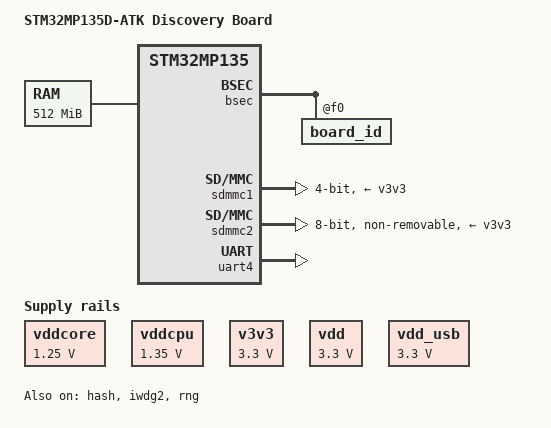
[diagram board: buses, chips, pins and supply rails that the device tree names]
// SPDX-License-Identifier: (GPL-2.0+ OR BSD-3-Clause)
/*
 * Copyright (C) STMicroelectronics 2022 - All Rights Reserved
 * Author: Alexandre Torgue <alexandre.torgue@st.com> for STMicroelectronics.
 */

/dts-v1/;

#include <dt-bindings/clock/stm32mp13-clksrc.h>
#include "stm32mp135.dtsi"
#include "stm32mp13xd.dtsi"
#include "stm32mp13-ddr3-1x4Gb-1066-binF.dtsi"
#include "stm32mp13-pinctrl-atk.dtsi"

/ {
	model = "STM32MP135D-ATK Discovery Board";
	compatible = "st,stm32mp135d-atk", "st,stm32mp135";

	aliases {
		serial0 = &uart4;
	};

	chosen {
		stdout-path = "serial0:115200n8";
	};

	memory@c0000000 {
		device_type = "memory";
		reg = <0xc0000000 0x20000000>;
	};

	vddcore: regulator-vddcore {
        compatible = "regulator-fixed";
        regulator-name = "vddcore";
        regulator-min-microvolt = <1250000>;
        regulator-max-microvolt = <1250000>;
        regulator-off-in-suspend;
        regulator-always-on;
	};

	vddcpu: regulator-vddcpu {
		compatible = "regulator-fixed";
		regulator-name = "vddcpu";
		regulator-min-microvolt = <1350000>;
		regulator-max-microvolt = <1350000>;
        regulator-off-in-suspend;
        regulator-always-on;
	};

	v3v3: regulator-v3v3 {
        compatible = "regulator-fixed";
        regulator-name = "v3v3";
        regulator-min-microvolt = <3300000>;
        regulator-max-microvolt = <3300000>;
        regulator-off-in-suspend;
        regulator-always-on;
    };

	vdd: regulator-vdd {
		compatible = "regulator-fixed";
		regulator-name = "vdd";
		regulator-min-microvolt = <3300000>;
		regulator-max-microvolt = <3300000>;
		regulator-off-in-suspend;
		regulator-always-on;
	};

	vdd_usb: regulator-vdd-usb {
		compatible = "regulator-fixed";
		regulator-name = "vdd_usb";
		regulator-min-microvolt = <3300000>;
		regulator-max-microvolt = <3300000>;
		regulator-off-in-suspend;
		regulator-always-on;
	};
};

&bsec {
	board_id: board_id@f0 {
		reg = <0xf0 0x4>;
		st,non-secure-otp;
	};
};

&clk_hse {
	st,digbypass;
};

&cpu0 {
	cpu-supply = <&vddcpu>;
};

&hash {
	status = "okay";
};

&iwdg2 {
	timeout-sec = <32>;
	status = "okay";
};

&pwr_regulators {
	vdd-supply = <&vdd>;
	vdd_3v3_usbfs-supply = <&vdd_usb>;
};

&rcc {
	st,clksrc = <
		CLK_MPU_PLL1P
		CLK_AXI_PLL2P
		CLK_MLAHBS_PLL3
		CLK_CKPER_HSE
		CLK_RTC_LSE
		CLK_SDMMC1_PLL4P
		CLK_SDMMC2_PLL4P
		CLK_STGEN_HSE
		CLK_USBPHY_HSE
		CLK_I2C4_HSI
		CLK_USBO_USBPHY
		CLK_I2C12_HSI
		CLK_UART2_HSI
		CLK_UART4_HSI
	>;

	st,clkdiv = <
		DIV(DIV_AXI, 0)
		DIV(DIV_MLAHB, 0)
		DIV(DIV_APB1, 1)
		DIV(DIV_APB2, 1)
		DIV(DIV_APB3, 1)
		DIV(DIV_APB4, 1)
		DIV(DIV_APB5, 2)
		DIV(DIV_APB6, 1)
		DIV(DIV_RTC, 0)
	>;

	st,pll_vco {
		pll1_vco_1300Mhz: pll1-vco-1300Mhz {
			src = < CLK_PLL12_HSE >;
			divmn = < 2 80 >;
			frac = < 0x800 >;
		};

		pll2_vco_1066Mhz: pll2-vco-1066Mhz {
			src = < CLK_PLL12_HSE >;
			divmn = < 2 65 >;
			frac = < 0x1400 >;
		};

		pll3_vco_417_8Mhz: pll2-vco-417_8Mhz {
			src = < CLK_PLL3_HSE >;
			divmn = < 1 33 >;
			frac = < 0x1a04 >;
		};

		pll4_vco_600Mhz: pll2-vco-600Mhz {
			src = < CLK_PLL4_HSE >;
			divmn = < 1 49 >;
		};
	};

	/* VCO = 1300.0 MHz => P = 650 (CPU) */
	pll1:st,pll@0 {
		compatible = "st,stm32mp1-pll";
		reg = <0>;

		st,pll = < &pll1_cfg1 >;

		pll1_cfg1: pll1_cfg1 {
			st,pll_vco = < &pll1_vco_1300Mhz >;
			st,pll_div_pqr = < 0 1 1 >;
		};
	};

	/* VCO = 1066.0 MHz => P = 266 (AXI), Q = 266, R = 533 (DDR) */
	pll2:st,pll@1 {
		compatible = "st,stm32mp1-pll";
		reg = <1>;

		st,pll = < &pll2_cfg1 >;

		pll2_cfg1: pll2_cfg1 {
			st,pll_vco = < &pll2_vco_1066Mhz >;
			st,pll_div_pqr = < 1 1 0 >;
		};
	};

	/* VCO = 417.8 MHz => P = 209, Q = 24, R = 209 */
	pll3:st,pll@2 {
		compatible = "st,stm32mp1-pll";
		reg = <2>;

		st,pll = < &pll3_cfg1 >;

		pll3_cfg1: pll3_cfg1 {
			st,pll_vco = < &pll3_vco_417_8Mhz >;
			st,pll_div_pqr = < 1 16 1 >;
		};
	};

	/* VCO = 600.0 MHz => P = 50, Q = 10, R = 100 */
	pll4:st,pll@3 {
		compatible = "st,stm32mp1-pll";
		reg = <3>;

		st,pll = < &pll4_cfg1 >;

		pll4_cfg1: pll4_cfg1 {
			st,pll_vco = < &pll4_vco_600Mhz >;
			st,pll_div_pqr = < 11 59 5 >;
		};
	};
};

&rng {
	status = "okay";
};

&sdmmc1 {
	pinctrl-names = "default";
	pinctrl-0 = <&sdmmc1_b4_pins_a &sdmmc1_clk_pins_a>;
	disable-wp;
	st,neg-edge;
	no-1-8-v;
	bus-width = <4>;
	vmmc-supply = <&v3v3>;
	status = "okay";
};

&sdmmc2 {
    pinctrl-names = "default";
    pinctrl-0 = <&sdmmc2_b4_pins_a &sdmmc2_b4_b7_pins_a &sdmmc2_clk_pins_a>;
    non-removable;
    st,neg-edge;
	mmc-ddr-3_3v;
 	no-1-8-v;
    bus-width = <8>;
    vmmc-supply = <&v3v3>;
    vqmmc-supply = <&v3v3>;
    status = "okay";
};

&uart4 {
	pinctrl-names = "default";
	pinctrl-0 = <&uart4_pins_a>;
	status = "okay";
};
